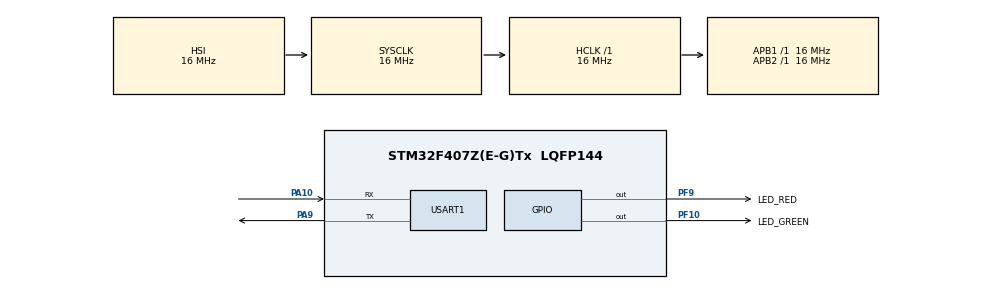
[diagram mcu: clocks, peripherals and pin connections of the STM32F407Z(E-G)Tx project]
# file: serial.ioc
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Dma.Request0=USART1_TX
Dma.Request1=USART1_RX
Dma.USART1_RX.1.Direction=DMA_PERIPH_TO_MEMORY
Dma.USART1_RX.1.FIFOMode=DMA_FIFOMODE_DISABLE
Dma.USART1_RX.1.Instance=DMA2_Stream2
Dma.USART1_RX.1.MemDataAlignment=DMA_MDATAALIGN_BYTE
Dma.USART1_RX.1.MemInc=DMA_MINC_ENABLE
Dma.USART1_RX.1.Mode=DMA_NORMAL
Dma.USART1_RX.1.PeriphDataAlignment=DMA_PDATAALIGN_BYTE
Dma.USART1_RX.1.PeriphInc=DMA_PINC_DISABLE
Dma.USART1_RX.1.Priority=DMA_PRIORITY_LOW
Dma.USART1_TX.0.Direction=DMA_MEMORY_TO_PERIPH
Dma.USART1_TX.0.FIFOMode=DMA_FIFOMODE_DISABLE
Dma.USART1_TX.0.Instance=DMA2_Stream7
Dma.USART1_TX.0.MemDataAlignment=DMA_MDATAALIGN_BYTE
Dma.USART1_TX.0.MemInc=DMA_MINC_ENABLE
Dma.USART1_TX.0.Mode=DMA_NORMAL
Dma.USART1_TX.0.PeriphDataAlignment=DMA_PDATAALIGN_BYTE
Dma.USART1_TX.0.PeriphInc=DMA_PINC_DISABLE
Dma.USART1_TX.0.Priority=DMA_PRIORITY_LOW
Mcu.Family=STM32F4
Mcu.Name=STM32F407Z(E-G)Tx
Mcu.Package=LQFP144
NVIC.DMA2_Stream2_IRQn=true\:0\:0\:false\:false\:true\:false\:true\:true
NVIC.DMA2_Stream7_IRQn=true\:0\:0\:false\:false\:true\:false\:true\:true
NVIC.PriorityGroup=NVIC_PRIORITYGROUP_4
NVIC.USART1_IRQn=true\:0\:0\:false\:false\:true\:true\:true\:true
PA10.Mode=Asynchronous
PA10.Signal=USART1_RX
PA13.Mode=Serial_Wire
PA13.Signal=SYS_JTMS-SWDIO
PA14.Mode=Serial_Wire
PA14.Signal=SYS_JTCK-SWCLK
PA9.Mode=Asynchronous
PA9.Signal=USART1_TX
PF10.GPIO_Label=LED_GREEN
PF10.Signal=GPIO_Output
PF9.GPIO_Label=LED_RED
PF9.Signal=GPIO_Output
ProjectManager.HeapSize=0x200
ProjectManager.StackSize=0x400
ProjectManager.TargetToolchain=MDK-ARM V5.32
RCC.AHBFreq_Value=16000000
RCC.APB1Freq_Value=16000000
RCC.APB2Freq_Value=16000000
RCC.CortexFreq_Value=16000000
RCC.HSE_VALUE=25000000
RCC.HSI_VALUE=16000000
RCC.LSE_VALUE=32768
RCC.SYSCLKFreq_VALUE=16000000
RCC.VCOOutputFreq_Value=192000000
USART1.VirtualMode=VM_ASYNC
board=custom

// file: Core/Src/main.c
/* USER CODE BEGIN Header */
/**
  ******************************************************************************
  * @file           : main.c
  * @brief          : Main program body
  ******************************************************************************
  * @attention
  *
  * Copyright (c) 2026 STMicroelectronics.
  * All rights reserved.
  *
  * This software is licensed under terms that can be found in the LICENSE file
  * in the root directory of this software component.
  * If no LICENSE file comes with this software, it is provided AS-IS.
  *
  ******************************************************************************
  */
/* USER CODE END Header */
#include "main.h"

/* USER CODE BEGIN Includes */
#include<string.h>
/* USER CODE END Includes */

UART_HandleTypeDef huart1;
DMA_HandleTypeDef hdma_usart1_tx;
DMA_HandleTypeDef hdma_usart1_rx;

/* USER CODE BEGIN PV */
 uint8_t receiveData[50];
/* USER CODE END PV */

void SystemClock_Config(void);
static void MX_GPIO_Init(void);
static void MX_DMA_Init(void);
static void MX_USART1_UART_Init(void);

/* USER CODE BEGIN 0 */
void HAL_UART_RxCpltCallback(UART_HandleTypeDef *huart)
{       GPIO_PinState state = GPIO_PIN_RESET;
        HAL_UART_Transmit_DMA(&huart1,receiveData    ,2);

      if(receiveData[1]== '0'){
      state = GPIO_PIN_SET;
      }if(receiveData[0]== 'r')
      {
          HAL_GPIO_WritePin(LED_RED_GPIO_Port,LED_RED_Pin,state);
      }else if(receiveData[0]== 'g')
      {
       HAL_GPIO_WritePin(LED_GREEN_GPIO_Port,LED_GREEN_Pin,state);
      }  HAL_UART_Receive_DMA(&huart1,receiveData    ,2);
  }
 void HAL_UARTEx_RxEventCallback(UART_HandleTypeDef *huart, uint16_t Size)
{
 if(huart == &huart1   )
     {

      HAL_UART_Transmit_DMA(&huart1,receiveData    ,Size    );
 HAL_UARTEx_ReceiveToIdle_DMA(&huart1, receiveData, sizeof(receiveData));
         __HAL_DMA_DISABLE_IT(&hdma_usart1_rx,DMA_IT_HT);
 }
}
/* USER CODE END 0 */

int main(void)
{

  /* MCU Configuration--------------------------------------------------------*/

  /* Reset of all peripherals, Initializes the Flash interface and the Systick. */
  HAL_Init();

  /* Configure the system clock */
  SystemClock_Config();

  /* Initialize all configured peripherals */
  MX_GPIO_Init();
  MX_DMA_Init();
  MX_USART1_UART_Init();
  /* USER CODE BEGIN 2 */
    HAL_UARTEx_ReceiveToIdle_DMA(&huart1, receiveData, sizeof(receiveData));
         __HAL_DMA_DISABLE_IT(&hdma_usart1_rx,DMA_IT_HT);
  /* USER CODE END 2 */

  /* Infinite loop */
  while (1)
  {

    /* USER CODE BEGIN 3 */
      //HAL_UART_Receive(&huart1,receiveData    ,2,HAL_MAX_DELAY);
      //HAL_UART_Transmit(&huart1,receiveData    ,2,100);

  }
  /* USER CODE END 3 */
}

void SystemClock_Config(void)
{
  RCC_OscInitTypeDef RCC_OscInitStruct = {0};
  RCC_ClkInitTypeDef RCC_ClkInitStruct = {0};

  /** Configure the main internal regulator output voltage
  */
  __HAL_RCC_PWR_CLK_ENABLE();
  __HAL_PWR_VOLTAGESCALING_CONFIG(PWR_REGULATOR_VOLTAGE_SCALE1);

  /** Initializes the RCC Oscillators according to the specified parameters
  * in the RCC_OscInitTypeDef structure.
  */
  RCC_OscInitStruct.OscillatorType = RCC_OSCILLATORTYPE_HSI;
  RCC_OscInitStruct.HSIState = RCC_HSI_ON;
  RCC_OscInitStruct.HSICalibrationValue = RCC_HSICALIBRATION_DEFAULT;
  RCC_OscInitStruct.PLL.PLLState = RCC_PLL_NONE;
  if (HAL_RCC_OscConfig(&RCC_OscInitStruct) != HAL_OK)
  {
    Error_Handler();
  }

  /** Initializes the CPU, AHB and APB buses clocks
  */
  RCC_ClkInitStruct.ClockType = RCC_CLOCKTYPE_HCLK|RCC_CLOCKTYPE_SYSCLK
                              |RCC_CLOCKTYPE_PCLK1|RCC_CLOCKTYPE_PCLK2;
  RCC_ClkInitStruct.SYSCLKSource = RCC_SYSCLKSOURCE_HSI;
  RCC_ClkInitStruct.AHBCLKDivider = RCC_SYSCLK_DIV1;
  RCC_ClkInitStruct.APB1CLKDivider = RCC_HCLK_DIV1;
  RCC_ClkInitStruct.APB2CLKDivider = RCC_HCLK_DIV1;

  if (HAL_RCC_ClockConfig(&RCC_ClkInitStruct, FLASH_LATENCY_0) != HAL_OK)
  {
    Error_Handler();
  }
}

static void MX_USART1_UART_Init(void)
{

  huart1.Instance = USART1;
  huart1.Init.BaudRate = 115200;
  huart1.Init.WordLength = UART_WORDLENGTH_8B;
  huart1.Init.StopBits = UART_STOPBITS_1;
  huart1.Init.Parity = UART_PARITY_NONE;
  huart1.Init.Mode = UART_MODE_TX_RX;
  huart1.Init.HwFlowCtl = UART_HWCONTROL_NONE;
  huart1.Init.OverSampling = UART_OVERSAMPLING_16;
  if (HAL_UART_Init(&huart1) != HAL_OK)
  {
    Error_Handler();
  }

}

static void MX_DMA_Init(void)
{

  /* DMA controller clock enable */
  __HAL_RCC_DMA2_CLK_ENABLE();

  /* DMA interrupt init */
  /* DMA2_Stream2_IRQn interrupt configuration */
  HAL_NVIC_SetPriority(DMA2_Stream2_IRQn, 0, 0);
  HAL_NVIC_EnableIRQ(DMA2_Stream2_IRQn);
  /* DMA2_Stream7_IRQn interrupt configuration */
  HAL_NVIC_SetPriority(DMA2_Stream7_IRQn, 0, 0);
  HAL_NVIC_EnableIRQ(DMA2_Stream7_IRQn);

}

static void MX_GPIO_Init(void)
{
  GPIO_InitTypeDef GPIO_InitStruct = {0};

  /* GPIO Ports Clock Enable */
  __HAL_RCC_GPIOF_CLK_ENABLE();
  __HAL_RCC_GPIOA_CLK_ENABLE();

  /*Configure GPIO pin Output Level */
  HAL_GPIO_WritePin(GPIOF, LED_RED_Pin|LED_GREEN_Pin, GPIO_PIN_RESET);

  /*Configure GPIO pins : LED_RED_Pin LED_GREEN_Pin */
  GPIO_InitStruct.Pin = LED_RED_Pin|LED_GREEN_Pin;
  GPIO_InitStruct.Mode = GPIO_MODE_OUTPUT_PP;
  GPIO_InitStruct.Pull = GPIO_NOPULL;
  GPIO_InitStruct.Speed = GPIO_SPEED_FREQ_LOW;
  HAL_GPIO_Init(GPIOF, &GPIO_InitStruct);

}

void Error_Handler(void)
{
  __disable_irq();
  while (1)
  {
  }
}
